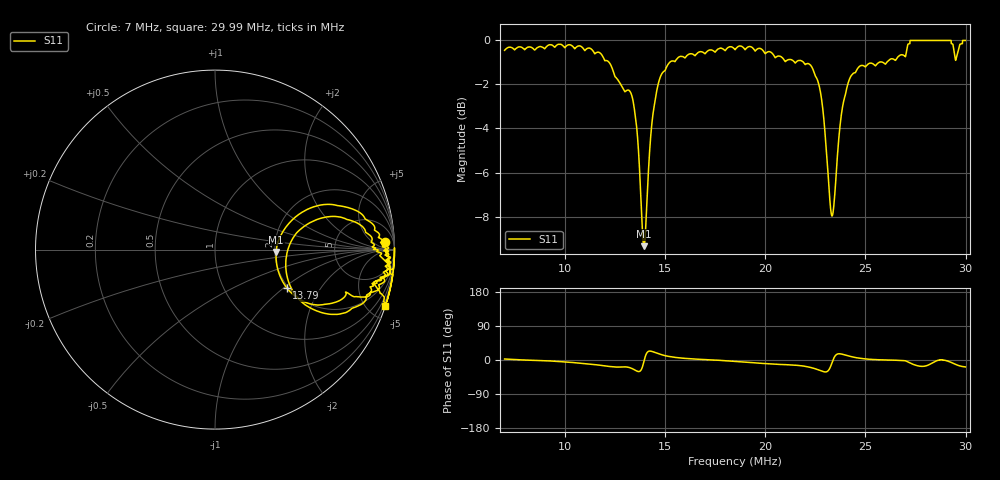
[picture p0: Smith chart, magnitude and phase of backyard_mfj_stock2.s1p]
! Touchstone file generated by AntScope2
# MHz Z RI R 50
! Format: Frequency Z-real Z-imaginary (normalized to 50 Ohm)
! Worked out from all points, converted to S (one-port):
!   2000 points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, 7 MHz to 29.99 MHz, reference 50 ohm
!   lowest |S11| = -9.3 dB at 13.96 MHz (marker M1), VSWR 2.03, Z = 102 - j3.12 ohm
!   |S11| at or under -10 dB: nowhere
!   S11 on the Smith chart (normalised r, x): 7 MHz: 22, +19; 13.79 MHz: 1.96, -1.05; 29.99 MHz: 0.00, -6.20
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7  21.59 19.29
9.875  6.741 -22.6
11.7265  2.098 -7.823
12.75  2.917 -4.146
13.3365  2.53 -3.289
13.601  2.031 -2.047
13.785  1.96 -1.051
13.9575  2.032 -0.0624
14.1645  2.286 1.138
14.3715  2.636 2.365
14.8085  3.872 5.21
15.625  9.322 10.67
18.5  15.48 -19.93
21.375  3.323 -7.189
22.2605  1.936 -5.049
22.801  1.771 -2.841
23.054  1.933 -1.653
23.2955  2.231 -0.4766
23.675  3.061 1.632
24.25  6.046 5.118
25.1125  14.61 4.491
26.895  22.93 -8.498
27.125  4.159 -20.09
27.539  0 -7.955
27.884  0 -6.796
28.827  0 200
29.54  3.225 -7.772
29.9885  0 -6.199
